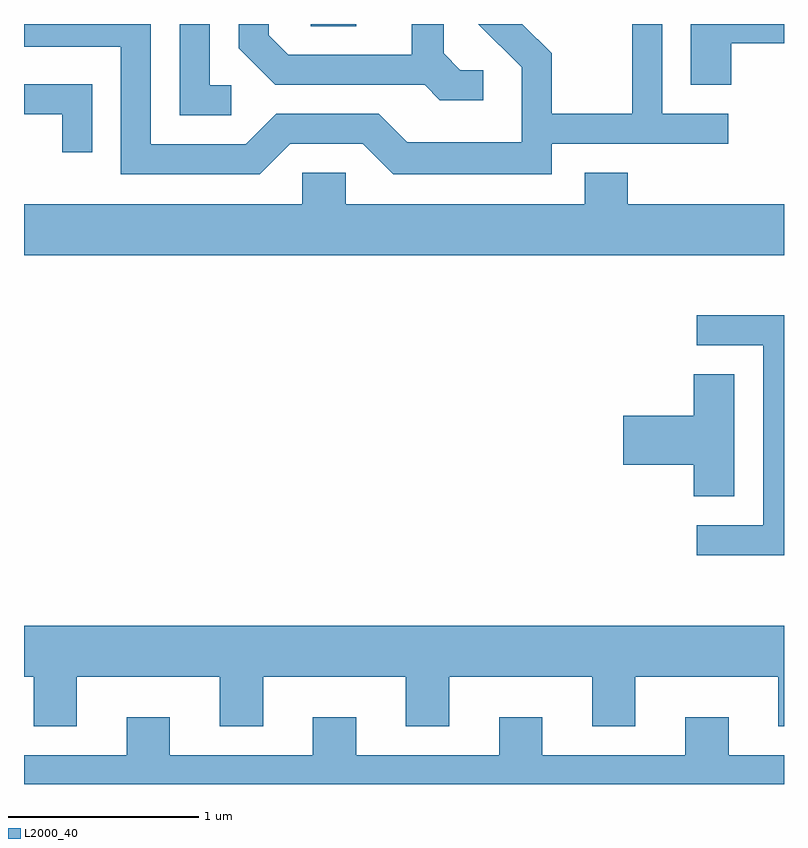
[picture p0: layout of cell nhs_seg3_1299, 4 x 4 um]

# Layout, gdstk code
import gdstk
lib = gdstk.Library(unit=1e-6, precision=1e-09)
def R(c, l, rs):  # rectangles x0, y0, x1, y1
    for r in rs: c.add(gdstk.rectangle(r[:2], r[2:], *l))
def P(c, l, *ps):  # polygons
    for p in ps: c.add(gdstk.Polygon(p, *l))
L2000_40 = (2000, 40)

nhs_seg3_1299 = lib.new_cell('nhs_seg3_1299')
R(nhs_seg3_1299, L2000_40, [(225.121,1133.881,225.359,1133.892)])
P(nhs_seg3_1299, L2000_40, [(225.012,1133.261),(225.394,1133.261),(225.554,1133.101),(226.389,1133.101),(226.389,1133.261),(227.318,1133.261),(227.318,1133.419),(226.969,1133.419),(226.969,1133.892),(226.811,1133.892),(226.811,1133.419),(226.389,1133.419),(226.389,1133.737),(226.234,1133.892),(226.003,1133.892),(226.231,1133.664),(226.231,1133.269),(225.627,1133.269),(225.477,1133.419),(224.939,1133.419),(224.779,1133.259),(224.279,1133.259),(224.279,1133.892),(223.611,1133.892),(223.611,1133.771),(224.121,1133.771),(224.121,1133.101),(224.852,1133.101)],
  [(224.703,1133.569),(224.589,1133.569),(224.589,1133.892),(224.431,1133.892),(224.431,1133.411),(224.703,1133.411)],
  [(226.028,1133.649),(225.907,1133.649),(225.819,1133.737),(225.819,1133.892),(225.651,1133.892),(225.651,1133.729),(225.002,1133.729),(224.899,1133.832),(224.899,1133.892),(224.741,1133.892),(224.741,1133.764),(224.934,1133.571),(225.719,1133.571),(225.799,1133.491),(226.028,1133.491)],
  [(227.334,1133.791),(227.611,1133.791),(227.611,1133.892),(227.121,1133.892),(227.121,1133.571),(227.334,1133.571)],
  [(223.969,1133.574),(223.611,1133.574),(223.611,1133.416),(223.811,1133.416),(223.811,1133.218),(223.969,1133.218)],
  [(227.611,1132.944),(226.789,1132.944),(226.789,1133.109),(226.561,1133.109),(226.561,1132.944),(225.304,1132.944),(225.304,1133.109),(225.076,1133.109),(225.076,1132.944),(223.611,1132.944),(223.611,1132.676),(227.611,1132.676)],
  [(227.611,1132.359),(227.153,1132.359),(227.153,1132.201),(227.501,1132.201),(227.501,1131.254),(227.153,1131.254),(227.153,1131.096),(227.611,1131.096)],
  [(227.349,1132.049),(227.136,1132.049),(227.136,1131.829),(226.766,1131.829),(226.766,1131.571),(227.136,1131.571),(227.136,1131.406),(227.349,1131.406)],
  [(223.889,1130.456),(224.641,1130.456),(224.641,1130.196),(224.869,1130.196),(224.869,1130.456),(225.621,1130.456),(225.621,1130.196),(225.849,1130.196),(225.849,1130.456),(226.601,1130.456),(226.601,1130.196),(226.829,1130.196),(226.829,1130.456),(227.581,1130.456),(227.581,1130.196),(227.611,1130.196),(227.611,1130.724),(223.611,1130.724),(223.611,1130.456),(223.661,1130.456),(223.661,1130.196),(223.889,1130.196)],
  [(227.611,1130.044),(227.319,1130.044),(227.319,1130.244),(227.091,1130.244),(227.091,1130.044),(226.339,1130.044),(226.339,1130.244),(226.111,1130.244),(226.111,1130.044),(225.359,1130.044),(225.359,1130.244),(225.131,1130.244),(225.131,1130.044),(224.379,1130.044),(224.379,1130.244),(224.151,1130.244),(224.151,1130.044),(223.611,1130.044),(223.611,1129.892),(227.611,1129.892)])

lib.write_gds('nhs_seg3_1299.gds')
